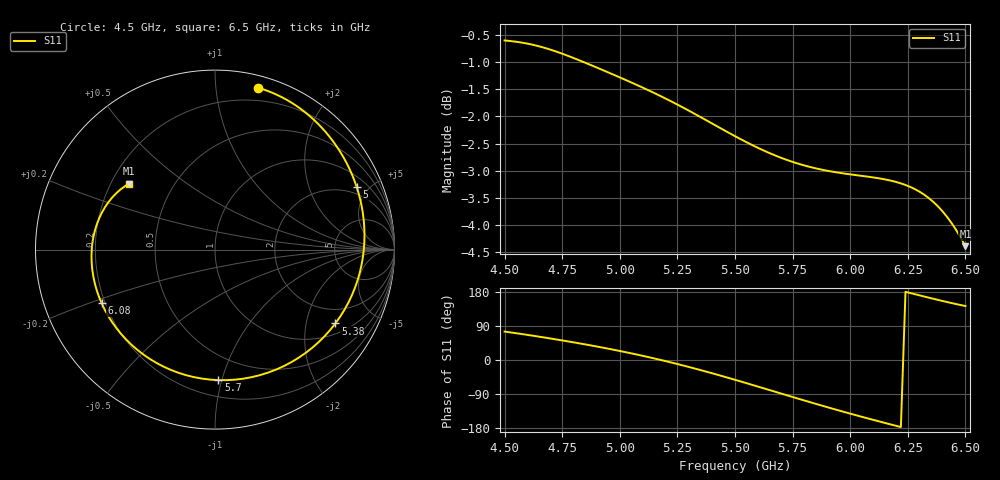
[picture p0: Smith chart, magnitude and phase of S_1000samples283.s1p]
! TOUCHSTONE file generated by CST MICROWAVE STUDIO
! Date and time: Thu Oct 27 15:12:54 2022
! Project name: L.cst
! Parameters = {Di=1.27; Epsilon_r=1.56; InnerDiameter=1.27; Length=2; Lf=10; Lg=60; OuterConductorThickness=0.2921; OuterDiameter=3.6; Wf=3; Wp=41.2; de=1.5; df=6.8; g=0.8; gx=2.29912; gy=1.43189; h=2.34; hf=1.524; px=9.22263; py=10.8171; w=9.7; wx=6.92351; wy=9.38523}
! Header version: 2018
! Port assignment regex: !\s*Touchstone port\s*([0-9]+)\s*=\s*(CST MWS port|CST DS port)\s*([0-9]+|Zmin|Zmax)\s*\(\"(.*)\"\)(\s*mode\s*([0-9]+))?.*
! Touchstone port assignment:
! Touchstone port 1 = CST MWS port 1 ("")
# GHz S DB R 50
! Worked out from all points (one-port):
!   101 points, 4.5 GHz to 6.5 GHz, reference 50 ohm
!   lowest |S11| = -4.4 dB at 6.5 GHz (marker M1), VSWR 4.04, Z = 13.7 + j15.9 ohm
!   |S11| at or under -10 dB: nowhere
!   S11 on the Smith chart (normalised r, x): 4.5 GHz: 0.09, +1.30; 5 GHz: 1.54, +4.21; 5.38 GHz: 1.37, -2.96; 5.7 GHz: 0.32, -0.98; 6.08 GHz: 0.19, -0.22; 6.5 GHz: 0.27, +0.32
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4.5  -0.60 75.0
4.62  -0.68 64.3
4.76  -0.86 50.6
4.88  -1.06 37.8
5  -1.28 23.8
5.08  -1.43 13.6
5.14  -1.55 5.4
5.2  -1.67 -3.2
5.26  -1.80 -12.2
5.32  -1.94 -21.7
5.38  -2.08 -31.5
5.44  -2.22 -41.7
5.5  -2.36 -52.2
5.6  -2.58 -70.2
5.66  -2.70 -81.2
5.7  -2.76 -88.5
5.76  -2.85 -99.4
5.82  -2.93 -110.2
5.88  -2.99 -120.9
5.94  -3.03 -131.3
6  -3.07 -141.5
6.08  -3.11 -154.7
6.18  -3.19 -170.7
6.26  -3.30 176.8
6.32  -3.44 167.7
6.4  -3.75 155.9
6.46  -4.10 147.5
6.5  -4.39 142.4
